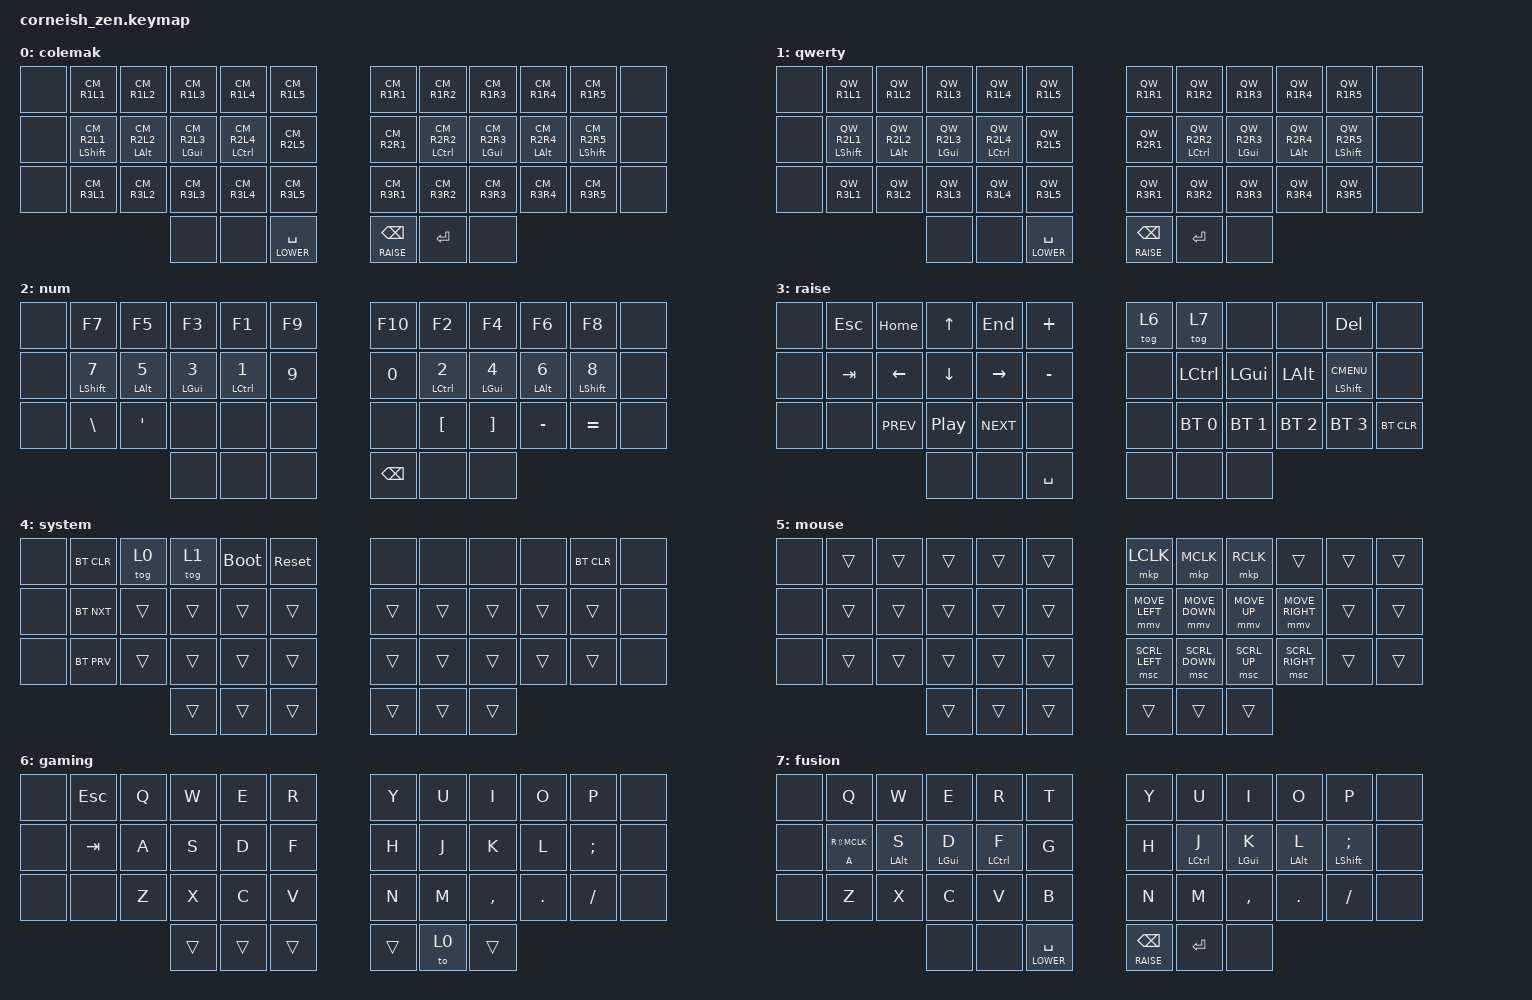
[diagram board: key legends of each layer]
#include <behaviors.dtsi>
#include <dt-bindings/zmk/keys.h>
#include <dt-bindings/zmk/bt.h>
#include <dt-bindings/zmk/backlight.h>
#include <dt-bindings/zmk/mouse.h>
#include <dt-bindings/zmk/pointing.h>
#include "layouts/alphas.h"
#include "telemetry/split_battery.dtsi"

#define BASE_COLEMAK 0
#define BASE_QWERTY 1
#define LOWER 2
#define RAISE 3
#define SYSTEM 4
#define MOUSE 5
#define GAMING 6
#define FUSION 7

/* Alpha row origins for the shared combo include (3x12, outer columns skipped) */
#define UML_ROW1 1
#define UML_ROW2 13
#define UML_ROW3 25

/ {
    chosen {
        zmk,matrix_transform = &default_transform;
    };
};

/ {
    behaviors {
#include "behaviors/homerow.dtsi"

        bmm: balanced_mouserow_mods {
            compatible = "zmk,behavior-hold-tap";
            #binding-cells = <2>;
            tapping-term-ms = <200>;
            quick-tap-ms = <0>;
            flavor = "balanced";
            bindings = <&kp>, <&mkp>;
        };
    };

    combos {
        compatible = "zmk,combos";
        combo_esc {
            timeout-ms = <50>;
            key-positions = <1 2>;
            bindings = <&kp ESC>;
        };
        combo_base_flip {
            timeout-ms = <50>;
            key-positions = <1 10>;
            bindings = <&tog BASE_QWERTY>;
        };
        combo_bootload {
            timeout-ms = <50>;
            key-positions = <0 11>;
            bindings = <&bootloader>;
        };
        combo_sysreset {
            timeout-ms = <50>;
            key-positions = <12 23>;
            bindings = <&sys_reset>;
        };

#include "combos/umlauts.dtsi"
    };

    keymap {
        compatible = "zmk,keymap";

        /* 0: Colemak plain — default base */
        layer_0 {
            label = "colemak";
            bindings = <
                &none  &kp CM_R1L1  &kp CM_R1L2  &kp CM_R1L3  &kp CM_R1L4  &kp CM_R1L5  &kp CM_R1R1  &kp CM_R1R2  &kp CM_R1R3  &kp CM_R1R4  &kp CM_R1R5 &none
                &none  &bhm LSHIFT CM_R2L1  &bhm LALT CM_R2L2  &bhm LGUI CM_R2L3  &bhm LCTRL CM_R2L4  &kp CM_R2L5  &kp CM_R2R1  &bhm LCTRL CM_R2R2  &bhm LGUI CM_R2R3  &bhm LALT CM_R2R4  &bhm LSHIFT CM_R2R5 &none
                &none  &kp CM_R3L1  &kp CM_R3L2  &kp CM_R3L3  &kp CM_R3L4  &kp CM_R3L5  &kp CM_R3R1  &kp CM_R3R2  &kp CM_R3R3  &kp CM_R3R4  &kp CM_R3R5 &none
                                                                         &none &none &lt LOWER SPACE  &lt RAISE BSPC  &kp ENTER &none
            >;
        };

        /* 1: QWERTY — toggle via chord (Q+P) or &tog BASE_QWERTY on SYSTEM */
        layer_1 {
            label = "qwerty";
            bindings = <
                &none  &kp QW_R1L1  &kp QW_R1L2  &kp QW_R1L3  &kp QW_R1L4  &kp QW_R1L5  &kp QW_R1R1  &kp QW_R1R2  &kp QW_R1R3  &kp QW_R1R4  &kp QW_R1R5 &none
                &none  &bhm LSHIFT QW_R2L1  &bhm LALT QW_R2L2  &bhm LGUI QW_R2L3  &bhm LCTRL QW_R2L4  &kp QW_R2L5  &kp QW_R2R1  &bhm LCTRL QW_R2R2  &bhm LGUI QW_R2R3  &bhm LALT QW_R2R4  &bhm LSHIFT QW_R2R5 &none
                &none  &kp QW_R3L1  &kp QW_R3L2  &kp QW_R3L3  &kp QW_R3L4  &kp QW_R3L5  &kp QW_R3R1  &kp QW_R3R2  &kp QW_R3R3  &kp QW_R3R4  &kp QW_R3R5 &none
                                                                         &none &none &lt LOWER SPACE  &lt RAISE BSPC  &kp ENTER &none
            >;
        };

        /* 2: LOWER / NUM — canonical order shared across boards */
        layer_2 {
            label = "num";
            bindings = <
                &none  &kp F7  &kp F5  &kp F3  &kp F1  &kp F9    &kp F10  &kp F2  &kp F4  &kp F6  &kp F8 &none
                &none  &bhm LSHIFT N7 &bhm LALT N5 &bhm LGUI N3 &bhm LCTRL N1 &kp N9  &kp N0 &bhm LCTRL N2 &bhm LGUI N4 &bhm LALT N6 &bhm LSHIFT N8 &none
                &none  &kp BSLH &kp SQT &none &none &none   &none &kp LBKT &kp RBKT &kp MINUS &kp EQUAL &none
                                                                         &none &none &none &kp BSPC &none &none
            >;
        };

        /* 3: RAISE / NAV */
        layer_3 {
            label = "raise";
            bindings = <
                &none  &kp ESC &kp HOME &kp UP &kp END &kp PLUS    &tog 6 &tog 7 &none &none &kp DEL &none
                &none  &kp TAB &kp LEFT &kp DOWN &kp RIGHT &kp MINUS   &none &kp LCTRL &kp LGUI &kp LALT &bhm LSHIFT K_CMENU &none
                &none  &none &kp C_PREV &kp C_PP &kp C_NEXT &none   &none &bt BT_SEL 0 &bt BT_SEL 1 &bt BT_SEL 2 &bt BT_SEL 3 &bt BT_CLR
                                                                        &none &none &kp SPACE &none &none &none
            >;
        };

        layer_4 {
            label = "system";
            bindings = <
                &none  &bt BT_CLR &tog 0 &tog 1 &bootloader &sys_reset   &none &none &none &none &bt BT_CLR &none
                &none  &bt BT_NXT &trans &trans &trans &trans   &trans &trans &trans &trans &trans &none
                &none  &bt BT_PRV &trans &trans &trans &trans   &trans &trans &trans &trans &trans &none
                                                                        &trans &trans &trans &trans &trans &trans
            >;
        };

        layer_5 {
            label = "mouse";
            bindings = <
                &none  &trans &trans &trans &trans &trans   &mkp LCLK &mkp MCLK &mkp RCLK &trans &trans &trans
                &none  &trans &trans &trans &trans &trans   &mmv MOVE_LEFT &mmv MOVE_DOWN &mmv MOVE_UP &mmv MOVE_RIGHT &trans &trans
                &none  &trans &trans &trans &trans &trans   &msc SCRL_LEFT &msc SCRL_DOWN &msc SCRL_UP &msc SCRL_RIGHT &trans &trans
                                                                        &trans &trans &trans &trans &trans &trans
            >;
        };

        layer_6 {
            label = "gaming";
            bindings = <
                &none  &kp ESC &kp Q &kp W &kp E &kp R   &kp Y &kp U &kp I &kp O &kp P &none
                &none  &kp TAB &kp A &kp S &kp D &kp F   &kp H &kp J &kp K &kp L &kp SEMI &none
                &none  &none &kp Z &kp X &kp C &kp V   &kp N &kp M &kp CMMA &kp DOT &kp FSLH &none
                                                                         &trans &trans &trans &trans &to 0 &trans
            >;
        };

        layer_7 {
            label = "fusion";
            bindings = <
                &none  &kp Q  &kp W  &kp E  &kp R  &kp T  &kp Y  &kp U  &kp I  &kp O  &kp P &none
                &none  &bmm A RS(MCLK)  &bhm LALT S  &bhm LGUI D  &bhm LCTRL F  &kp G  &kp H  &bhm LCTRL J  &bhm LGUI K  &bhm LALT L  &bhm LSHIFT SEMICOLON &none
                &none  &kp Z  &kp X  &kp C  &kp V  &kp B  &kp N  &kp M  &kp CMMA  &kp DOT  &kp FSLH &none
                                                                         &none &none &lt LOWER SPACE  &lt RAISE BSPC  &kp ENTER &none
            >;
        };
    };
};
